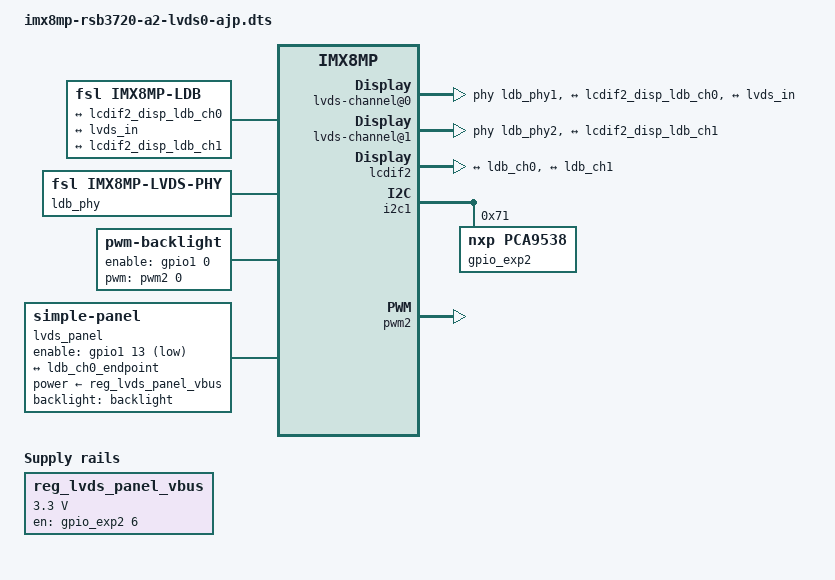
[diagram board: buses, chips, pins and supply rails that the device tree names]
#include "imx8mp-rsb3720-a2.dts"
#include <dt-bindings/pwm/pwm.h>

/ {
    aliases {
		video0 = &lcdif2;
	};

    dsi_host: dsi-host {
		status = "disabled";
	};

    ldb: ldb-display-controller {
        #address-cells = <1>;
        #size-cells = <0>;
        compatible = "fsl,imx8mp-ldb";
        clocks = <&clk IMX8MP_CLK_MEDIA_LDB_ROOT>;
        clock-names = "ldb";
        assigned-clocks = <&clk IMX8MP_CLK_MEDIA_LDB>;
        assigned-clock-parents = <&clk IMX8MP_VIDEO_PLL1_OUT>;
        gpr = <&media_blk_ctrl>;
        power-domains = <&pgc_mediamix>;
        status = "okay";
        lvds-channel@0 {
            #address-cells = <1>;
            #size-cells = <0>;
            reg = <0>;
            phys = <&ldb_phy1>;
            phy-names = "ldb_phy";
            status = "okay";
            port@0 {
                reg = <0>;
                ldb_ch0: endpoint {
                    remote-endpoint = <&lcdif2_disp_ldb_ch0>;
                };
            };
        };
        lvds-channel@1 {
            reg = <1>;
            phys = <&ldb_phy2>;
            phy-names = "ldb_phy";
            status = "okay";
            port {
                ldb_ch1: endpoint {
                    remote-endpoint = <&lcdif2_disp_ldb_ch1>;
                };
            };
        };
    };

    ldb_phy: phy-lvds {
        compatible = "fsl,imx8mp-lvds-phy";
        #address-cells = <1>;
        #size-cells = <0>;
        gpr = <&media_blk_ctrl>;
        clocks = <&clk IMX8MP_CLK_MEDIA_APB_ROOT>;
        clock-names = "apb";
        power-domains = <&pgc_mediamix>;
        status = "okay";
        ldb_phy1: port@0 {
            reg = <0>;
            #phy-cells = <0>;
        };
        ldb_phy2: port@1 {
            reg = <1>;
            #phy-cells = <0>;
        };
    };

    reg_lvds_panel_vbus: reg-lvds-panel-vbus {
		compatible = "regulator-fixed";
		regulator-name = "lvds-panel";
		regulator-min-microvolt = <3300000>;
		regulator-max-microvolt = <3300000>;
		enable-active-high;
		gpio = <&gpio_exp2 6 GPIO_ACTIVE_HIGH>; /* LCD_BKLT0_EN */
	};

    backlight: backlight {
		compatible = "pwm-backlight";
		pinctrl-names = "default";
		pinctrl-0 = <&pinctrl_lvds_bklt>;
		pwms = <&pwm2 0 5000000 0>;
		enable-gpios = <&gpio1 0 GPIO_ACTIVE_HIGH>; /* VDD_BKLT0_EN */
		status = "okay";
		brightness-levels = < 0  1  2  3  4  5  6  7  8  9
				     10 11 12 13 14 15 16 17 18 19
				     20 21 22 23 24 25 26 27 28 29
				     30 31 32 33 34 35 36 37 38 39
				     40 41 42 43 44 45 46 47 48 49
				     50 51 52 53 54 55 56 57 58 59
				     60 61 62 63 64 65 66 67 68 69
				     70 71 72 73 74 75 76 77 78 79
				     80 81 82 83 84 85 86 87 88 89
				     90 91 92 93 94 95 96 97 98 99
				     100>;
		default-brightness-level = <80>;
	};

    lvds_panel:lvds_panel {
	    compatible = "simple-panel";
	    pinctrl-names = "default";
	    pinctrl-0 = <&pinctrl_lvds_panel>;
	    enable-gpios = <&gpio1 13 GPIO_ACTIVE_LOW>; /* LCD_VDD_EN */
	    backlight = <&backlight>;
		power-supply = <&reg_lvds_panel_vbus>;
	    /* timing node native-mode */
	    display-timings {
	        native-mode = <&timing0>;
	        timing0: timing0 {
	     		clock-frequency = <25000000>;
				hactive = <800>;
				vactive = <480>;
				hfront-porch = <8>;
				hback-porch = <8>;
				hsync-len = <4>;
				vback-porch = <8>;
				vfront-porch = <8>;
				vsync-len = <4>;
	        };
	    };

	    port {
	        lvds_in: endpoint {
	            remote-endpoint = <&ldb_ch0_endpoint>;
	        };
	       };
	};

};

&aips4 {
    lcdif2: lcd-controller@32e90000 {
			compatible = "fsl,imx8mp-lcdif2";
			reg = <0x32e90000 0x10000>;
			clocks = <&clk IMX8MP_CLK_MEDIA_DISP2_PIX_ROOT>,
				 <&clk IMX8MP_CLK_MEDIA_AXI_ROOT>,
				 <&clk IMX8MP_CLK_MEDIA_APB_ROOT>;
			clock-names = "pix", "disp-axi", "disp-apb";
			assigned-clocks = <&clk IMX8MP_CLK_MEDIA_DISP2_PIX>,
					  <&clk IMX8MP_CLK_MEDIA_AXI>,
					  <&clk IMX8MP_CLK_MEDIA_APB>;
			assigned-clock-parents = <&clk IMX8MP_VIDEO_PLL1_OUT>,
						 <&clk IMX8MP_SYS_PLL2_1000M>,
						 <&clk IMX8MP_SYS_PLL1_800M>;
			assigned-clock-rates = <0>, <500000000>, <200000000>;
			interrupts = <GIC_SPI 6 IRQ_TYPE_LEVEL_HIGH>;
			power-domains = <&media_blk_ctrl IMX8MP_MEDIABLK_PD_LCDIF_2>;
			status = "disabled";

			lcdif2_disp: port {
				#address-cells = <1>;
				#size-cells = <0>;

				lcdif2_disp_ldb_ch0: endpoint@0 {
					reg = <0>;
					remote-endpoint = <&ldb_ch0>;
				};

				lcdif2_disp_ldb_ch1: endpoint@1 {
					reg = <1>;
					remote-endpoint = <&ldb_ch1>;
				};
			};
		};

	media_blk_ctrl: blk-ctrl@32ec0000 {
		compatible = "fsl,imx8mp-media-blk-ctrl",
			     "syscon";
		reg = <0x32ec0000 0x10000>;
		power-domains = <&pgc_mediamix>,
				<&pgc_mipi_phy1>,
				<&pgc_mipi_phy1>,
				<&pgc_mediamix>,
				<&pgc_mediamix>,
				<&pgc_mipi_phy2>,
				<&pgc_mediamix>,
				<&pgc_mipi_phy2>;
		power-domain-names = "bus", "mipi-dsi1", "mipi-csi1",
				     "lcdif1", "isi", "mipi-csi2",
				     "lcdif2", "mipi-dsi2";
		clocks = <&clk IMX8MP_CLK_MEDIA_APB_ROOT>,
			 <&clk IMX8MP_CLK_MEDIA_AXI_ROOT>,
			 <&clk IMX8MP_CLK_MEDIA_CAM1_PIX_ROOT>,
			 <&clk IMX8MP_CLK_MEDIA_CAM2_PIX_ROOT>,
			 <&clk IMX8MP_CLK_MEDIA_DISP1_PIX_ROOT>,
			 <&clk IMX8MP_CLK_MEDIA_DISP2_PIX_ROOT>,
			 <&clk IMX8MP_CLK_MEDIA_ISP_ROOT>,
			 <&clk IMX8MP_CLK_MEDIA_MIPI_PHY1_REF_ROOT>;
		clock-names = "apb", "axi", "cam1", "cam2",
			      "disp1", "disp2", "isp", "phy";

		assigned-clocks = <&clk IMX8MP_CLK_MEDIA_AXI>,
				  <&clk IMX8MP_CLK_MEDIA_APB>,
				  <&clk IMX8MP_CLK_MEDIA_DISP1_PIX>,
				  <&clk IMX8MP_CLK_MEDIA_DISP2_PIX>,
				  <&clk IMX8MP_VIDEO_PLL1>;
		assigned-clock-parents = <&clk IMX8MP_SYS_PLL2_1000M>,
					 <&clk IMX8MP_SYS_PLL1_800M>,
					 <&clk IMX8MP_VIDEO_PLL1_OUT>,
					 <&clk IMX8MP_VIDEO_PLL1_OUT>;
		assigned-clock-rates = <500000000>, <200000000>,
				       <0>, <0>, <1039500000>;
		#power-domain-cells = <1>;
	};
};

&i2c1 {
	gpio_exp2: tca9538@71 {
		compatible = "nxp,pca9538";
		reg = <0x71>;
		gpio-controller;
		#gpio-cells = <2>;
	};
};

&i2c2 {
	adv_bridge: adv7535@3d {
		status = "disabled";
    };
};

&pwm2 {
	pinctrl-names = "default";
	pinctrl-0 = <&pinctrl_pwm2>;
	#pwm-cells = <3>;
	status = "okay";
};

&lcdif1 {
	status = "disabled";
};

&lcdif2 {
	status = "okay";
};

&ldb {
    /delete-property/ power-domains;
    status = "okay";
    lvds-channel@0 {
        status = "okay";
        fsl,data-mapping = "spwg";
        fsl,data-width = <24>;
        crtc = "lcdif2";
        port@1 {
            reg = <1>;
            ldb_ch0_endpoint: endpoint {
                remote-endpoint = <&lvds_in>;
            };
        };
    };
};

&ldb_phy {
       status = "okay";
};

&iomuxc {
    pinctrl_i2c4: i2c4grp {
		fsl,pins = <
			MX8MP_IOMUXC_SD1_DATA2__I2C4_SCL		0x400001c3
			MX8MP_IOMUXC_SD1_DATA3__I2C4_SDA		0x400001c3
		>;
	};

    pinctrl_i2c4_gpio: i2c4grp-gpio {
		fsl,pins = <
			MX8MP_IOMUXC_SD1_DATA2__GPIO2_IO04		0x1c3
			MX8MP_IOMUXC_SD1_DATA3__GPIO2_IO05		0x1c3
		>;
	};

	pinctrl_pwm2: pwm2grp {
		fsl,pins = <
			MX8MP_IOMUXC_SAI5_RXD0__PWM2_OUT		0x116
		>;
	};

	pinctrl_lvds_bklt: lvds_bkltgrp {
		fsl,pins = <
			MX8MP_IOMUXC_GPIO1_IO00__GPIO1_IO00		0x16
		>;
	};

    pinctrl_lvds_panel: lvds_panelgrp {
		fsl,pins = <
			MX8MP_IOMUXC_GPIO1_IO13__GPIO1_IO13		0x16
		>;
	};

};
